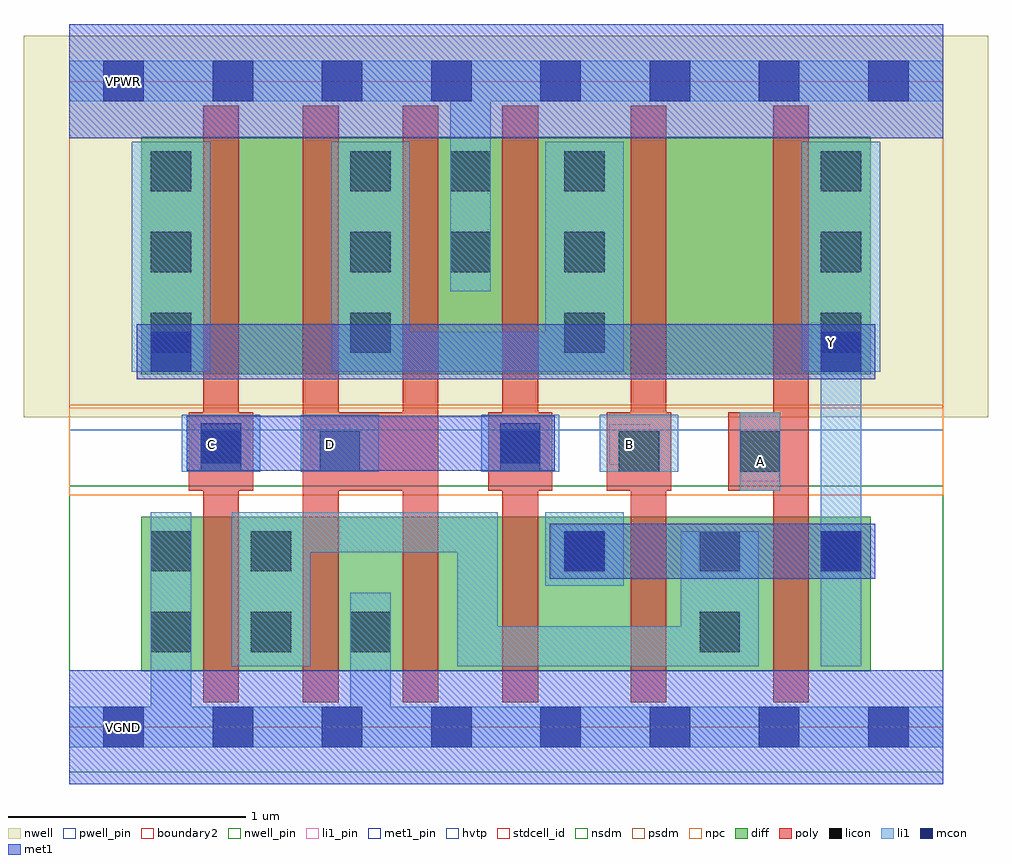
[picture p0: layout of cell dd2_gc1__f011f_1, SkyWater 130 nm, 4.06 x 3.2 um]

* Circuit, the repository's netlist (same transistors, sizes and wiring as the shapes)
.subckt dd2_gc1__f011f_1 A B C D VGND VNB VPB VPWR Y
X0 Y C n1 VNB sky130_fd_pr__nfet_01v8 w=0.65 l=0.15
X1 n1 D VGND VNB sky130_fd_pr__nfet_01v8 w=0.65 l=0.15
X2 Y A n2 VNB sky130_fd_pr__nfet_01v8 w=0.65 l=0.15
X3 Y B n2 VNB sky130_fd_pr__nfet_01v8 w=0.65 l=0.15
X4 n2 C VGND VNB sky130_fd_pr__nfet_01v8 w=0.65 l=0.15
X5 n2 D VGND VNB sky130_fd_pr__nfet_01v8 w=0.65 l=0.15
X6 Y A p2 VPB sky130_fd_pr__pfet_01v8_hvt w=1 l=0.15
X7 p2 B p1 VPB sky130_fd_pr__pfet_01v8_hvt w=1 l=0.15
X8 Y C p3 VPB sky130_fd_pr__pfet_01v8_hvt w=1 l=0.15
X9 p3 D p1 VPB sky130_fd_pr__pfet_01v8_hvt w=1 l=0.15
X10 p1 C VPWR VPB sky130_fd_pr__pfet_01v8_hvt w=1 l=0.15
X11 p1 D VPWR VPB sky130_fd_pr__pfet_01v8_hvt w=1 l=0.15
.ends

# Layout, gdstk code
import gdstk
lib = gdstk.Library(unit=1e-6, precision=1e-09)
def R(c, l, rs):  # rectangles x0, y0, x1, y1
    for r in rs: c.add(gdstk.rectangle(r[:2], r[2:], *l))
def A(c, l, x, y, w, h, nx, ny, dx, dy):  # array of equal rectangles
    R(c, l, [(x+i*dx, y+j*dy, x+i*dx+w, y+j*dy+h) for i in range(nx) for j in range(ny)])
nwell_pin = (64, 16)
nwell = (64, 20)
diff = (65, 20)
poly = (66, 20)
licon = (66, 44)
li1_pin = (67, 16)
li1 = (67, 20)
mcon = (67, 44)
met1_pin = (68, 16)
met1 = (68, 20)
hvtp = (78, 44)
stdcell_id = (81, 4)
nsdm = (93, 44)
psdm = (94, 20)
npc = (95, 20)
pwell_pin = (122, 16)
boundary2 = (236, 0)

dd2_gc1__f011f_1 = lib.new_cell('dd2_gc1__f011f_1')
R(dd2_gc1__f011f_1, nwell_pin, [(0.145,2.635,0.315,2.805)])
R(dd2_gc1__f011f_1, nwell, [(-0.19,1.305,3.87,2.91)])
R(dd2_gc1__f011f_1, diff, [(0.305,0.235,3.375,0.885), (0.305,1.485,3.375,2.485)])
A(dd2_gc1__f011f_1, poly, 0.565, 0.105, 0.15, 2.51, 4, 1, 0.42, 0)
R(dd2_gc1__f011f_1, poly, [(2.365,0.105,2.515,2.615), (2.965,0.105,3.115,2.615), (0.505,0.995,0.775,1.325), (0.985,0.995,1.555,1.325), (1.765,0.995,2.035,1.325), (2.265,0.995,2.535,1.325), (2.775,0.995,3.115,1.325)])
A(dd2_gc1__f011f_1, licon, 0.345, 0.315, 0.17, 0.17, 3, 1, 0.42, 0)
A(dd2_gc1__f011f_1, licon, 0.345, 1.575, 0.17, 0.17, 1, 3, 0, 0.34)
A(dd2_gc1__f011f_1, licon, 1.185, 1.575, 0.17, 0.17, 1, 3, 0, 0.34)
A(dd2_gc1__f011f_1, licon, 2.085, 1.575, 0.17, 0.17, 1, 3, 0, 0.34)
A(dd2_gc1__f011f_1, licon, 3.165, 1.575, 0.17, 0.17, 1, 3, 0, 0.34)
R(dd2_gc1__f011f_1, licon, [(2.655,0.315,2.825,0.485), (0.345,0.655,0.515,0.825), (0.765,0.655,0.935,0.825), (2.085,0.655,2.255,0.825), (2.655,0.655,2.825,0.825), (3.165,0.655,3.335,0.825), (0.555,1.075,0.725,1.245), (1.055,1.075,1.225,1.245), (1.815,1.075,1.985,1.245), (2.315,1.075,2.485,1.245), (2.825,1.075,2.995,1.245), (1.605,1.915,1.775,2.085), (1.605,2.255,1.775,2.425)])
R(dd2_gc1__f011f_1, li1_pin, [(2.83,1.035,2.99,1.205), (0.515,1.105,0.685,1.275), (1.015,1.105,1.185,1.275), (2.275,1.105,2.445,1.275), (3.125,1.535,3.295,1.705)])
R(dd2_gc1__f011f_1, li1, [(0,-0.085,3.68,0.085), (0.345,-0.085,0.515,0.905), (1.185,-0.085,1.355,0.565), (0.685,0.255,1.015,0.905), (1.635,0.255,1.805,0.905), (1.635,0.255,2.825,0.425), (2.575,0.255,2.905,0.825), (3.165,0.255,3.335,0.905), (2.005,0.595,2.335,0.905), (0.685,0.735,1.805,0.905), (3.165,0.895,3.335,1.505), (2.825,0.995,2.995,1.325), (0.475,1.075,0.805,1.315), (0.975,1.075,1.305,1.315), (1.735,1.075,2.065,1.315), (2.235,1.075,2.565,1.315), (0.265,1.495,0.595,2.465), (1.105,1.495,1.435,2.465), (1.105,1.495,2.335,1.665), (2.005,1.495,2.335,2.465), (3.085,1.495,3.415,2.465), (1.605,1.835,1.775,2.805), (0,2.635,3.68,2.805)])
A(dd2_gc1__f011f_1, mcon, 0.145, -0.085, 0.17, 0.17, 8, 2, 0.46, 2.72)
R(dd2_gc1__f011f_1, mcon, [(2.085,0.655,2.255,0.825), (3.165,0.655,3.335,0.825), (0.555,1.11,0.725,1.28), (1.815,1.11,1.985,1.28), (0.345,1.495,0.515,1.665), (3.165,1.495,3.335,1.665)])
R(dd2_gc1__f011f_1, met1_pin, [(0.145,-0.085,0.315,0.085), (0.145,2.635,0.315,2.805)])
R(dd2_gc1__f011f_1, met1, [(0,-0.24,3.68,0.24), (2.025,0.625,3.395,0.855), (0.495,1.08,2.045,1.31), (0.285,1.465,3.395,1.695), (0,2.48,3.68,2.96)])
R(dd2_gc1__f011f_1, hvtp, [(0,1.25,3.68,2.72)])
R(dd2_gc1__f011f_1, stdcell_id, [(0,0,3.68,2.72)])
R(dd2_gc1__f011f_1, nsdm, [(0,-0.19,3.68,1.015)])
R(dd2_gc1__f011f_1, psdm, [(0,1.355,3.68,2.91)])
R(dd2_gc1__f011f_1, npc, [(0,0.975,3.68,1.345)])
R(dd2_gc1__f011f_1, pwell_pin, [(0.145,-0.085,0.315,0.085)])
R(dd2_gc1__f011f_1, boundary2, [(0,0,3.68,2.72)])
dd2_gc1__f011f_1.add(gdstk.Label('C', (0.6,1.19), layer=67, texttype=5))
dd2_gc1__f011f_1.add(gdstk.Label('D', (1.1,1.19), layer=67, texttype=5))
dd2_gc1__f011f_1.add(gdstk.Label('B', (2.36,1.19), layer=67, texttype=5))
dd2_gc1__f011f_1.add(gdstk.Label('A', (2.91,1.12), layer=67, texttype=5))
dd2_gc1__f011f_1.add(gdstk.Label('Y', (3.21,1.62), layer=67, texttype=5))
dd2_gc1__f011f_1.add(gdstk.Label('VGND', (0.23,0), layer=68, texttype=5))
dd2_gc1__f011f_1.add(gdstk.Label('VPWR', (0.23,2.72), layer=68, texttype=5))
dd2_gc1__f011f_1.add(gdstk.Label('VPB', (0.23,2.72), layer=64, texttype=5))
dd2_gc1__f011f_1.add(gdstk.Label('VNB', (0.23,0), layer=64, texttype=59))

lib.write_gds('dd2_gc1__f011f_1.gds')
